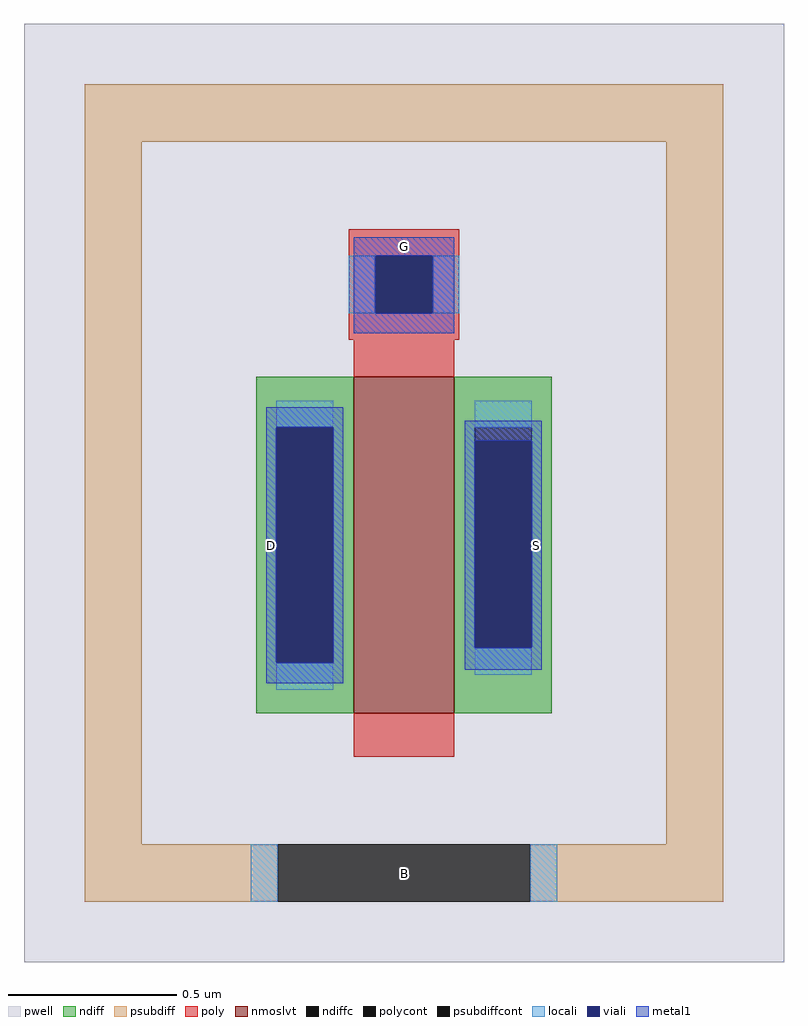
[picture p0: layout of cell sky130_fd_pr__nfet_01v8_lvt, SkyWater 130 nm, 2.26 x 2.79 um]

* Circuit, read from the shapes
.subckt sky130_fd_pr__nfet_01v8_lvt D S G B
XM1 S G D B sky130_fd_pr__nfet_01v8_lvt w=1 l=0.3
.ends

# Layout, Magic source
magic
tech sky130B
magscale 1 2
<< pwell >>
rect -226 -279 226 279
<< nmoslvt >>
rect -30 -131 30 69
<< ndiff >>
rect -88 39 -30 69
rect -88 -101 -76 39
rect -42 -101 -30 39
rect -88 -131 -30 -101
rect 30 39 88 69
rect 30 -92 42 39
rect 76 -92 88 39
rect 30 -131 88 -92
<< ndiffc >>
rect -76 -101 -42 39
rect 42 -92 76 39
<< psubdiff >>
rect -190 209 190 243
rect -190 -209 -156 209
rect 156 -209 190 209
rect -190 -243 -75 -209
rect 75 -243 190 -209
<< psubdiffcont >>
rect -75 -243 75 -209
<< poly >>
rect -33 141 33 157
rect -33 107 -17 141
rect 17 107 33 141
rect -33 91 33 107
rect -30 69 30 91
rect -30 -157 30 -131
<< polycont >>
rect -17 107 17 141
<< locali >>
rect -33 107 -17 141
rect 17 107 33 141
rect -76 39 -42 55
rect -76 -117 -42 -101
rect 42 39 76 55
rect 42 -108 76 -92
rect -91 -243 -75 -209
rect 75 -243 91 -209
<< viali >>
rect -17 107 17 141
rect -76 -101 -42 39
rect 42 -92 76 31
<< metal1 >>
rect -30 141 30 152
rect -30 107 -17 141
rect 17 107 30 141
rect -30 95 30 107
rect -82 39 -36 51
rect -82 -101 -76 39
rect -42 -101 -36 39
rect -82 -113 -36 -101
rect 36 31 82 43
rect 36 -92 42 31
rect 76 -92 82 31
rect 36 -105 82 -92
<< labels >>
flabel metal1 -82 -113 -76 51 0 FreeSans 160 0 0 0 D
port 0 nsew
flabel metal1 76 -105 82 43 0 FreeSans 160 0 0 0 S
port 1 nsew
flabel metal1 -30 141 30 152 0 FreeSans 160 0 0 0 G
port 2 nsew
rlabel locali -91 -243 91 -209 5 B
port 3 s
<< end >>
